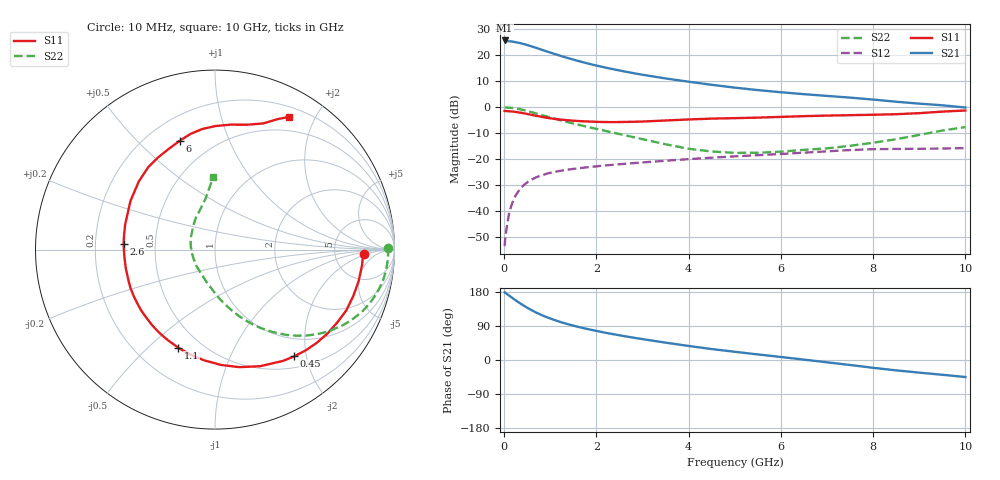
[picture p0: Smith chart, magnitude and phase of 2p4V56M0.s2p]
! (c) 2009  Infineon Technologies AG, Munich
! Infineon Technologies  Discrete & RF Semiconductors
! BFP420
! VCE =  4.5 V,  IC =  6.0 mA
! Common Emitter S-Parameters:  Nov 2009
# GHz  S  MA  R  50
!  f  S11  S21  S12  S22
! GHz  MAG  ANG  MAG  ANG  MAG  ANG  MAG  ANG
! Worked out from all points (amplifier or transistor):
!   46 points, 10 MHz to 10 GHz, reference 50 ohm
!   highest |S21| = 25.5 dB at 10 MHz (marker M1)
!   |S21| within 3 dB of that: start of sweep to 721 MHz
!   unconditionally stable (mu >= 1): start of sweep to 13.2 MHz; 2.843 GHz to end of sweep
!   at 300 MHz: K = 0.20, MSG = 28.7 dB, |S12| = -32.7 dB
!   at 1.7 GHz: K = 0.65, MSG = 20.3 dB, |S12| = -23.5 dB
!   at 10 GHz: K = 1.11, MAG = 5.7 dB, |S12| = -15.9 dB
!   lowest NFmin = 0.70 dB at 900 MHz
!   S11 on the Smith chart (normalised r, x): 10 MHz: 10, -2; 450 MHz: 0.68, -1.79; 1.1 GHz: 0.38, -0.63; 2.6 GHz: 0.32, +0.03; 6 GHz: 0.33, +0.68; 10 GHz: 0.32, +1.66
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0.01  0.8294 -1.6  18.73 178.8  0.0021 13.6  0.9616 0.6
0.02  0.8249 -2.4  18.2 177.9  0.0027 41.7  0.9648 -1.2
0.1  0.8193 -12.5  18.11 170.6  0.0083 70.1  0.9608 -6.7
0.15  0.8126 -18.6  17.92 166.2  0.0122 71.7  0.9523 -10.1
0.25  0.7935 -30.6  17.31 157.4  0.0197 69.4  0.9271 -16.4
0.35  0.7692 -42.4  16.62 149.3  0.0265 65.4  0.8917 -22.5
0.45  0.7409 -53.4  15.76 141.6  0.0326 61.3  0.8507 -27.9
0.6  0.6965 -68.9  14.38 131.1  0.0402 55.6  0.7845 -35.3
0.7  0.6685 -78.4  13.46 124.9  0.0444 52.2  0.7403 -39.5
0.9  0.62 -95.5  11.73 114.1  0.051 46.8  0.6591 -46.7
1.1  0.5837 -110.4  10.27 105.2  0.0561 42.8  0.5883 -52.6
1.4  0.5478 -129.8  8.507 93.9  0.0622 38.4  0.5007 -60.2
1.7  0.5257 -145.9  7.194 84.7  0.0672 35.3  0.4315 -66.4
2.2  0.508 -168.0  5.638 71.8  0.0746 31.6  0.3431 -75.5
2.6  0.5104 176.7  4.769 63.0  0.0799 29.1  0.2854 -83.1
3.5  0.5436 150.0  3.494 45.8  0.0917 24.4  0.1899 -103.5
4.5  0.5913 128.9  2.637 28.9  0.1051 18.8  0.1381 -137.7
5.5  0.6179 114.5  2.087 14.7  0.1174 13.3  0.1303 -172.6
6  0.6379 107.8  1.898 8.0  0.1237 10.6  0.1372 170.6
7  0.6759 95.9  1.613 -6.1  0.1392 3.9  0.1588 144.5
8.5  0.7183 75.6  1.248 -27.4  0.1547 -10.2  0.2377 110.4
10  0.8471 60.8  0.966 -44.9  0.1606 -19.7  0.4065 91.3
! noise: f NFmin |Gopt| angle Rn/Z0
0.9  0.7  0.16  29  0.14
1.8  1.08  0.06  113  0.12
2.4  1.17  0.11  132  0.13
3  1.26  0.17  176  0.11
4  1.43  0.31  -139  0.13
5  1.82  0.38  -115  0.24
6  2.3  0.43  -99  0.37
